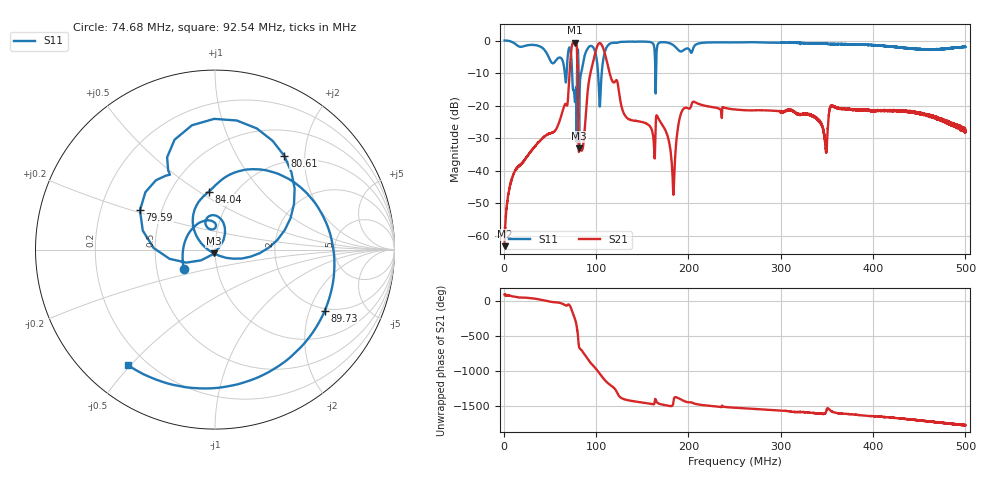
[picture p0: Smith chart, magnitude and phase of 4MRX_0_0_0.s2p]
! NanoVNA-App
! Date: 2026-08-19 14:15:59
! Start: 1MHz Stop: 500MHz Points: 6401
! S-Parameter data: F S11 S21 S12 S22
# Hz S RI R 50
!  Frequency  S11_Real  S11_Imag  S21_Real  S21_Imag  S12_Real  S12_Imag  S22_Real  S22_Imag
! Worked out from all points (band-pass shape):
!   6401 points, 1 MHz to 500 MHz, reference 50 ohm
!   highest |S21| = -0.65 dB at 76.94 MHz (marker M1); lowest = -63.2 dB at 1 MHz (marker M2)
!   |S21| within 3 dB of the highest: 73 MHz to 79.43 MHz (6.429 MHz wide, 8.44 % of centre); 99.28 MHz to 109.3 MHz (9.998 MHz wide, 9.59 % of centre)
!   lowest |S11| = -33.1 dB at 81.7 MHz (marker M3), VSWR 1.05, Z = 49.2 - j2.06 ohm
!   |S11| at or under -10 dB: 74.1 MHz to 79.42 MHz (5.318 MHz wide, 6.93 % of centre); 81.13 MHz to 83.84 MHz (2.716 MHz wide, 3.29 % of centre); 102.2 MHz to 106.2 MHz (3.979 MHz wide, 3.82 % of centre) (the widest 3 of 5)
!   S12 and S22 are empty: the file has one direction only
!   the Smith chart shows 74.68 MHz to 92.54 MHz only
!   S11 on the Smith chart (normalised r, x): 74.68 MHz: 0.69, -0.15; 79.59 MHz: 0.38, +0.21; 80.61 MHz: 0.89, +1.61; 84.04 MHz: 0.76, +0.55; 89.73 MHz: 1.92, -2.56; 92.54 MHz: 0.13, -0.49
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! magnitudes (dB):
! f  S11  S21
! 1 MHz  0.0  -63.2
! 11.84 MHz  -0.9  -40.3
! 67.35 MHz  -12.9  -19.5
! 74.68 MHz  -13.9  -0.9
! 76.94 MHz  -18.4  -0.7
! 79.59 MHz  -6.5  -6.3
! 80.61 MHz  -3.8  -19.1
! 81.7 MHz  -33.1  -33.9
! 84.04 MHz  -9.8  -33.5
! 84.19 MHz  -9.6  -33.6
! 89.73 MHz  -3.1  -19.5
! 92.54 MHz  -1.9  -12.1
! 104.8 MHz  -16.9  -0.9
! 112.2 MHz  -1.7  -7.0
! 132.3 MHz  -0.4  -23.4
! 167.4 MHz  -0.9  -23.8
! 183.5 MHz  -1.4  -46.4
! 195 MHz  -2.9  -20.9
! 250.5 MHz  -0.6  -21.2
! 333.7 MHz  -0.8  -23.0
! 416.9 MHz  -1.8  -21.4
! 500 MHz  -2.0  -28.2
